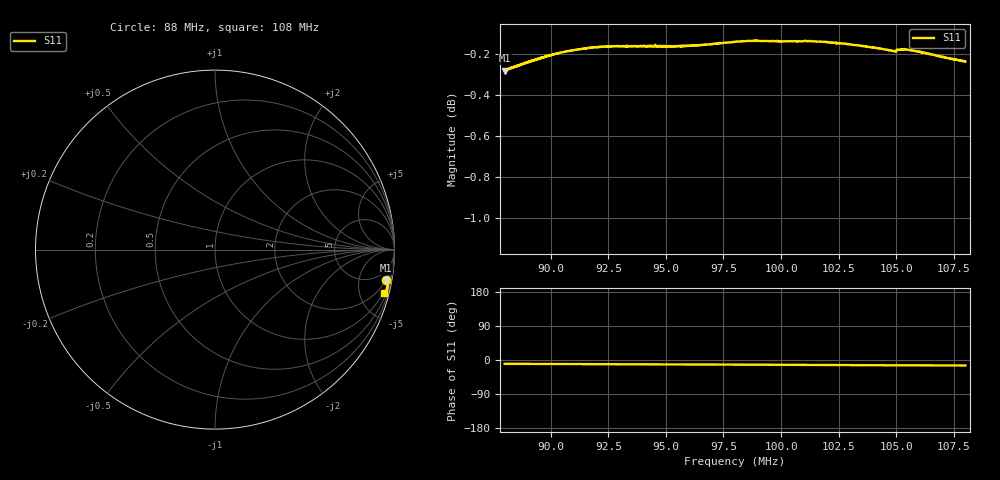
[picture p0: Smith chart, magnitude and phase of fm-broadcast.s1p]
! Calibrated averaged scanner-service zoom
# Hz S RI R 50
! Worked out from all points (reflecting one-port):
!   2001 points, 88 MHz to 108 MHz, reference 50 ohm
!   lowest |S11| = -0.3 dB at 88.02 MHz (marker M1), VSWR 61.67, Z = 99.8 - j543 ohm
!   phase of S11 starts at -10 deg and turns -4 deg over the sweep
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8.8e7  0.953 -0.1712
8.802e7  0.9529 -0.1711
8.845e7  0.9548 -0.1721
8.933e7  0.958 -0.1746
8.988e7  0.96 -0.1773
9.05e7  0.9614 -0.1797
9.116e7  0.9624 -0.1829
9.188e7  0.9629 -0.1863
9.236e7  0.963 -0.1885
9.3e7  0.9626 -0.1912
9.394e7  0.9619 -0.1947
9.55e7  0.961 -0.1993
9.683e7  0.9612 -0.2028
9.736e7  0.9615 -0.2047
9.8e7  0.9617 -0.2071
9.889e7  0.9617 -0.2109
1.005e8  0.9597 -0.2178
1.011e8  0.9592 -0.2202
1.0188e8  0.958 -0.2237
1.03e8  0.9555 -0.2287
1.041e8  0.9523 -0.2332
1.049e8  0.9497 -0.2362
1.0511e8  0.9505 -0.2363
1.0535e8  0.9505 -0.2369
1.055e8  0.9502 -0.2371
1.0656e8  0.9468 -0.2401
1.0746e8  0.9437 -0.2416
1.08e8  0.9423 -0.2425
